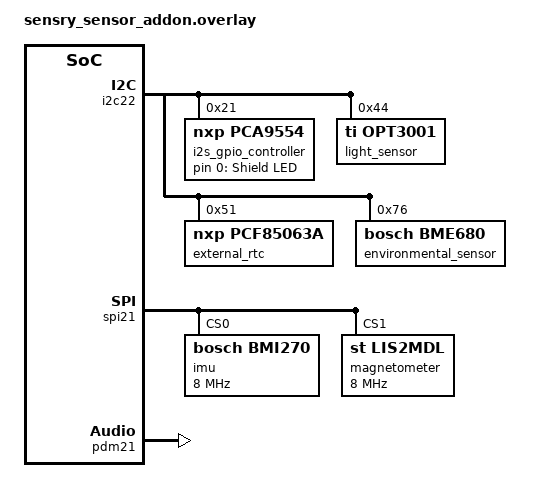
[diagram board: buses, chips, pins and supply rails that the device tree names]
/*
 * Copyright (c) 2026 Sensry GmbH
 * SPDX-License-Identifier: Apache-2.0
 */

sensry_i2c: &i2c22 {};

sensry_spi: &spi21 {};

sensry_pdm: &pdm21 {};

/ {
	sensry-leds {
		compatible = "gpio-leds";

		shield_led: shield-led {
			gpios = <&i2s_gpio_controller 0 GPIO_ACTIVE_HIGH>;
			label = "Shield LED";
		};
	};
};

&sensry_i2c {
	i2s_gpio_controller: gpio@21 {
		compatible = "nxp,pca9554";
		reg = <0x21>;
		no-auto-reset;
		gpio-controller;
		#gpio-cells = <2>;
		ngpios = <8>;
	};

	light_sensor: opt3002@44 {
		compatible = "ti,opt3001";
		reg = <0x44>;
		label = "light_sensor";
	};

	external_rtc: rtc@51 {
		compatible = "nxp,pcf85063a";
		reg = <0x51>;
	};

	environmental_sensor: bme680@76 {
		compatible = "bosch,bme680";
		reg = <0x76>;
		label = "environmental_sensor";
	};
};

&sensry_spi {
	imu: imu@0 {
		compatible = "bosch,bmi270";
		reg = <0>;
		spi-max-frequency = <8000000>;
		label = "imu";
		spi-cpol;
		spi-cpha;
	};

	magnetometer: lis2mdl@1 {
		compatible = "st,lis2mdl";
		reg = <1>;
		spi-max-frequency = <8000000>;
		label = "magnetometer";
	};
};

microphone: &sensry_pdm {
	status = "okay";
};
